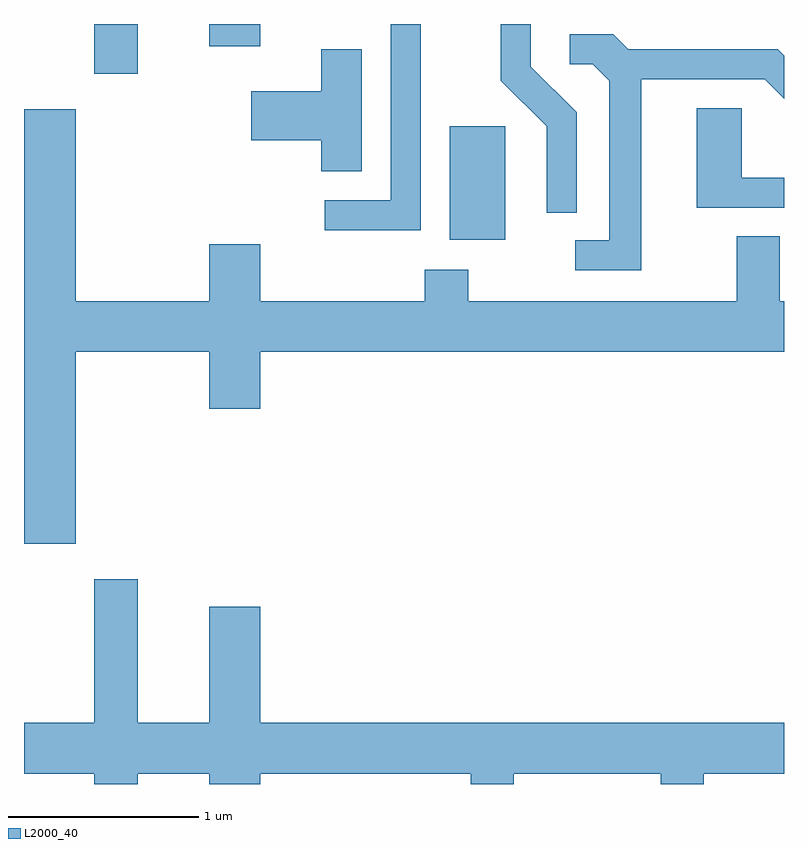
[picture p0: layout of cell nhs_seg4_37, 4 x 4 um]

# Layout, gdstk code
import gdstk
lib = gdstk.Library(unit=1e-6, precision=1e-09)
def R(c, l, rs):  # rectangles x0, y0, x1, y1
    for r in rs: c.add(gdstk.rectangle(r[:2], r[2:], *l))
def P(c, l, *ps):  # polygons
    for p in ps: c.add(gdstk.Polygon(p, *l))
L2000_40 = (2000, 40)

nhs_seg4_37 = lib.new_cell('nhs_seg4_37')
R(nhs_seg4_37, L2000_40, [(187.851,1330.846,188.144,1331.444), (185.981,1331.721,186.209,1331.982), (186.586,1331.866,186.854,1331.982)])
P(nhs_seg4_37, L2000_40, [(188.519,1331.517),(188.279,1331.757),(188.279,1331.982),(188.121,1331.982),(188.121,1331.684),(188.361,1331.444),(188.361,1330.988),(188.519,1330.988)],
  [(187.699,1331.982),(187.541,1331.982),(187.541,1331.054),(187.193,1331.054),(187.193,1330.896),(187.699,1330.896)],
  [(188.859,1331.691),(189.509,1331.691),(189.611,1331.589),(189.611,1331.815),(189.577,1331.849),(188.792,1331.849),(188.712,1331.929),(188.483,1331.929),(188.483,1331.771),(188.604,1331.771),(188.691,1331.684),(188.691,1330.844),(188.513,1330.844),(188.513,1330.686),(188.859,1330.686)],
  [(187.389,1331.849),(187.176,1331.849),(187.176,1331.629),(186.806,1331.629),(186.806,1331.371),(187.176,1331.371),(187.176,1331.206),(187.389,1331.206)],
  [(189.611,1331.174),(189.389,1331.174),(189.389,1331.539),(189.151,1331.539),(189.151,1331.016),(189.611,1331.016)],
  [(185.884,1330.256),(186.586,1330.256),(186.586,1329.956),(186.854,1329.956),(186.854,1330.256),(189.611,1330.256),(189.611,1330.524),(189.589,1330.524),(189.589,1330.864),(189.361,1330.864),(189.361,1330.524),(187.949,1330.524),(187.949,1330.689),(187.721,1330.689),(187.721,1330.524),(186.854,1330.524),(186.854,1330.824),(186.586,1330.824),(186.586,1330.524),(185.884,1330.524),(185.884,1331.534),(185.611,1331.534),(185.611,1329.246),(185.884,1329.246)],
  [(186.209,1328.036),(186.586,1328.036),(186.586,1327.982),(186.854,1327.982),(186.854,1328.036),(187.961,1328.036),(187.961,1327.982),(188.189,1327.982),(188.189,1328.036),(188.961,1328.036),(188.961,1327.982),(189.189,1327.982),(189.189,1328.036),(189.611,1328.036),(189.611,1328.304),(186.854,1328.304),(186.854,1328.914),(186.586,1328.914),(186.586,1328.304),(186.209,1328.304),(186.209,1329.059),(185.981,1329.059),(185.981,1328.304),(185.611,1328.304),(185.611,1328.036),(185.981,1328.036),(185.981,1327.982),(186.209,1327.982)])

lib.write_gds('nhs_seg4_37.gds')
